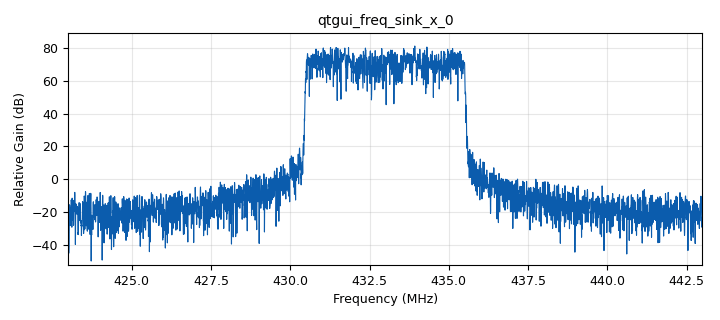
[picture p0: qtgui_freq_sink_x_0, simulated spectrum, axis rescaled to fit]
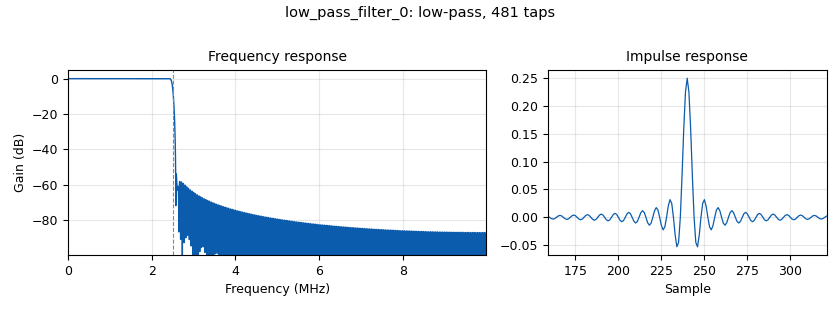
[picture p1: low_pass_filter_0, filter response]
options:
  parameters:
    author: mathige
    generate_options: qt_gui
    id: default
    output_language: python
    title: Working_light_jammer
  states: {}

blocks:
- name: bandwidth
  id: variable
  parameters:
    value: '20000000'
  states: {}
- name: frequency
  id: variable
  parameters:
    value: '433000000'
  states: {}
- name: samp_rate
  id: variable
  parameters:
    value: '20000000'
  states: {}
- name: analog_fastnoise_source_x_0
  id: analog_fastnoise_source_x
  parameters:
    amp: '1000000'
    noise_type: analog.GR_UNIFORM
    samples: '8192'
    seed: '0'
    type: complex
  states: {}
- name: low_pass_filter_0
  id: low_pass_filter
  parameters:
    beta: '5'
    cutoff_freq: '2500000'
    decim: '1'
    gain: '1'
    samp_rate: samp_rate
    type: fir_filter_ccf
    width: '100000'
    win: window.WIN_HAMMING
  states: {}
- name: osmosdr_sink_0
  id: osmosdr_sink
  parameters:
    bb_gain0: '20'
    bw0: '6000000'
    freq0: frequency
    gain0: '10'
    if_gain0: '47'
    sample_rate: samp_rate
    sync: sync
    type: fc32
  states: {}
- name: qtgui_freq_sink_x_0
  id: qtgui_freq_sink_x
  parameters:
    bw: bandwidth
    fc: frequency
    fftsize: '4096'
    type: complex
  states: {}

connections:
- [analog_fastnoise_source_x_0, '0', low_pass_filter_0, '0']
- [low_pass_filter_0, '0', osmosdr_sink_0, '0']
- [low_pass_filter_0, '0', qtgui_freq_sink_x_0, '0']

metadata:
  file_format: 1
  grc_version: 3.10.7.0
